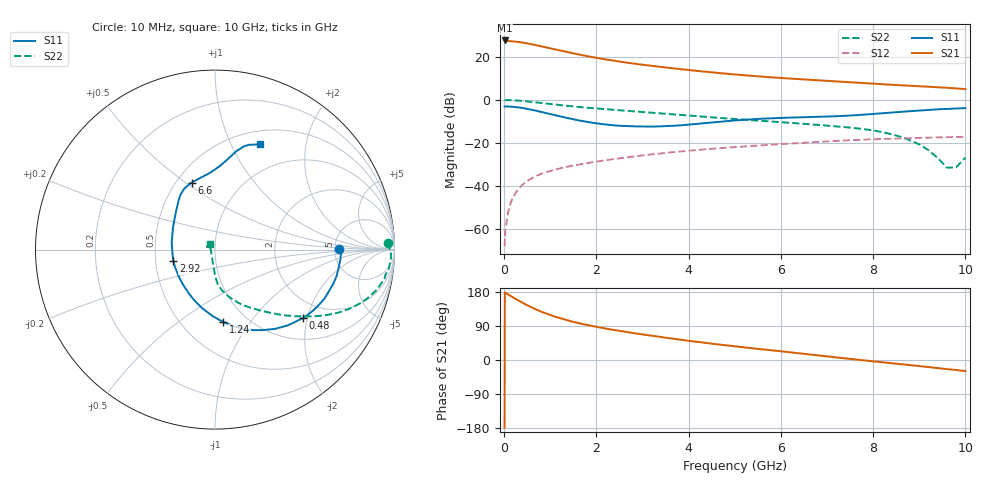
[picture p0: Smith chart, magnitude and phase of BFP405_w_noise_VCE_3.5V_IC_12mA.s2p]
! Infineon Technologies  Discrete & RF Semiconductors
! BFP405
! VCE =  3.5 V,  IC =  12 mA
! Common Emitter S-Parameters:  Jan 2016
# GHz  S  MA  R  50
!  f  S11  S21  S12  S22
! GHz  MAG  ANG  MAG  ANG  MAG  ANG  MAG  ANG
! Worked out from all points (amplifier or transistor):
!   233 points, 10 MHz to 10 GHz, reference 50 ohm
!   highest |S21| = 27.5 dB at 10 MHz (marker M1)
!   |S21| within 3 dB of that: start of sweep to 861.4 MHz
!   unconditionally stable (mu >= 1): start of sweep to 18.18 MHz; 2.483 GHz to end of sweep
!   at 200 MHz: K = 0.19, MSG = 36.1 dB, |S12| = -45.0 dB
!   at 1.74 GHz: K = 0.81, MSG = 25.0 dB, |S12| = -29.6 dB
!   at 10 GHz: K = 1.35, MAG = 7.5 dB, |S12| = -17.2 dB
!   lowest NFmin = 1.77 dB at 900 MHz
!   S11 on the Smith chart (normalised r, x): 10 MHz: 5.51, +0.05; 480 MHz: 1.52, -1.88; 1.24 GHz: 0.78, -0.75; 2.92 GHz: 0.62, -0.08; 6.6 GHz: 0.60, +0.53; 10 GHz: 0.66, +1.30
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0.01  0.6926 0.2  23.73 -178.7  0.0004 35.0  0.9632 2.3
0.02  0.7032 -1.1  23.48 177.1  0.0008 88.5  0.9727 0.3
0.05  0.7012 -4.1  23.11 175.7  0.0014 85.6  0.98 -0.9
0.125  0.6947 -10.0  22.95 170.1  0.0035 82.9  0.9794 -3.9
0.24  0.6771 -19.5  22.43 161.8  0.0066 80.8  0.9622 -8.0
0.4  0.6428 -32.1  21.24 150.8  0.0107 75.7  0.936 -12.8
0.48  0.62 -37.9  20.5 145.7  0.0125 73.9  0.9182 -15.0
0.6  0.5848 -46.3  19.32 138.4  0.0151 70.9  0.8892 -18.0
0.8  0.5227 -59.1  17.39 127.7  0.019 67.3  0.84 -22.1
1  0.4655 -70.7  15.54 118.5  0.0223 64.5  0.7938 -25.5
1.24  0.4046 -83.6  13.62 109.3  0.026 62.2  0.7442 -28.8
1.5  0.3515 -97.0  11.86 100.6  0.0297 60.3  0.6979 -31.8
1.68  0.3225 -105.8  10.86 95.6  0.0321 59.3  0.6703 -33.6
2.2  0.2662 -131.5  8.617 82.9  0.0394 56.8  0.6037 -38.0
2.92  0.2399 -164.8  6.652 68.9  0.0498 53.0  0.5287 -43.7
3.4  0.2411 174.8  5.758 60.7  0.0569 50.0  0.4823 -47.5
5.1  0.3365 127.4  3.78 34.7  0.081 37.7  0.3506 -62.5
6.6  0.3953 109.1  2.911 14.9  0.1021 26.5  0.2711 -74.0
6.8  0.4002 105.6  2.819 12.3  0.105 24.9  0.2608 -75.4
8.4  0.5046 82.4  2.224 -8.5  0.1251 10.4  0.1582 -88.3
9.6  0.6138 72.0  1.897 -24.1  0.1351 0.2  0.0265 -141.9
10  0.6386 66.7  1.764 -29.2  0.1379 -2.7  0.0454 131.8
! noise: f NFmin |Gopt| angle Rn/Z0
0.9  1.77  0.15  3  0.32
1.8  2.01  0.1  -12  0.29
2.4  2.13  0.09  -14  0.31
3  2.17  0.05  -9  0.29
4  2.32  0.08  -88  0.29
5  2.7  0.15  -96  0.31
